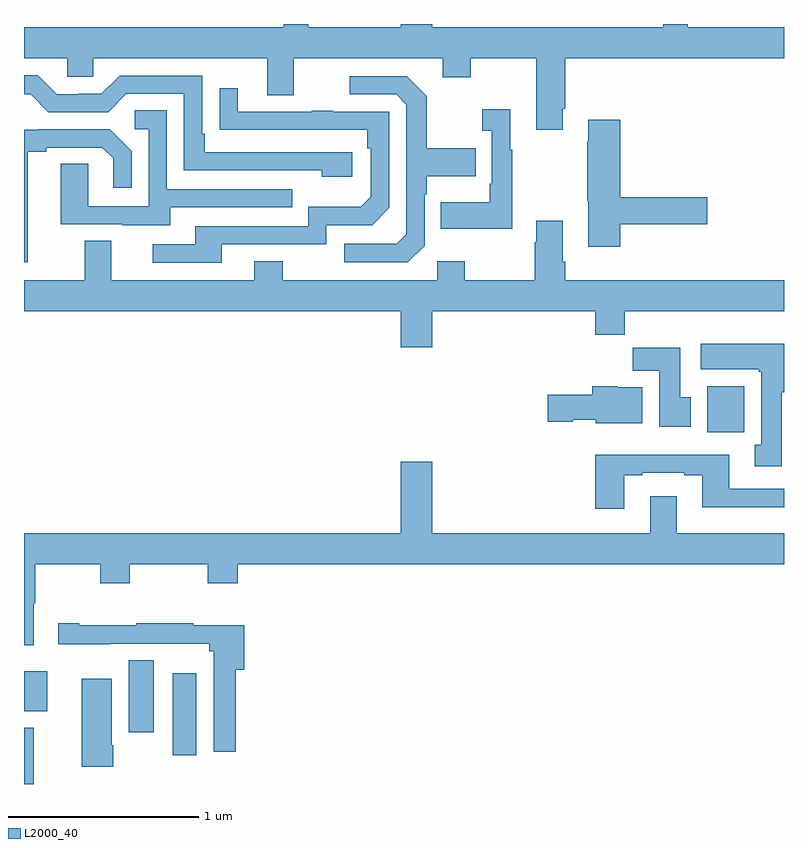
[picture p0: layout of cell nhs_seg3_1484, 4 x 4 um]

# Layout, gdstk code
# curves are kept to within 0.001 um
import gdstk
lib = gdstk.Library(unit=1e-6, precision=1e-09)
def R(c, l, rs):  # rectangles x0, y0, x1, y1
    for r in rs: c.add(gdstk.rectangle(r[:2], r[2:], *l))
def P(c, l, *ps):  # polygons
    for p in ps: c.add(gdstk.Polygon(p, *l))
L2000_40 = (2000, 40)

nhs_seg3_1484 = lib.new_cell('nhs_seg3_1484')
R(nhs_seg3_1484, L2000_40, [(187,726.4,187.051,726.697), (187.784,726.552,187.906,726.982), (187.55,726.672,187.684,727.052), (187,726.782,187.123,726.994), (190.595,728.252,190.792,728.494)])
P(nhs_seg3_1484, L2000_40, [(189.835,729.955),(189.848,729.955),(189.848,730.22),(191,730.22),(191,730.384),(190.493,730.384),(190.493,730.4),(190.365,730.4),(190.365,730.384),(189.148,730.384),(189.148,730.4),(188.984,730.4),(188.984,730.384),(188.495,730.384),(188.495,730.4),(188.367,730.4),(188.367,730.384),(187,730.384),(187,730.22),(187.227,730.22),(187.227,730.122),(187.365,730.122),(187.365,730.22),(188.279,730.22),(188.279,730.026),(188.419,730.026),(188.419,730.22),(189.203,730.22),(189.203,730.121),(189.351,730.121),(189.351,730.22),(189.695,730.22),(189.695,729.843),(189.835,729.843)],
  [(188.728,729.726),(187.951,729.726),(187.951,729.823),(187.938,729.823),(187.938,730.128),(187.503,730.128),(187.407,730.032),(187.289,730.032),(187.289,730.029),(187.173,730.029),(187.073,730.129),(187,730.129),(187,730.029),(187.035,730.029),(187.128,729.936),(187.443,729.936),(187.539,730.032),(187.842,730.032),(187.842,729.63),(188.567,729.63),(188.567,729.596),(188.728,729.596)],
  [(189.108,729.234),(189.108,729.503),(189.121,729.503),(189.121,729.599),(189.377,729.599),(189.377,729.747),(189.121,729.747),(189.121,730.019),(189.015,730.125),(188.715,730.125),(188.715,730.029),(188.958,730.029),(189.012,729.975),(189.012,729.294),(188.961,729.243),(188.685,729.243),(188.685,729.147),(189.021,729.147)],
  [(188.041,729.24),(188.592,729.24),(188.592,729.342),(188.832,729.342),(188.922,729.432),(188.922,729.939),(188.627,729.939),(188.627,729.944),(188.515,729.944),(188.515,729.939),(188.125,729.939),(188.125,730.063),(188.029,730.063),(188.029,729.844),(188.806,729.843),(188.806,729.746),(188.826,729.746),(188.826,729.492),(188.773,729.439),(188.496,729.439),(188.496,729.336),(187.901,729.336),(187.901,729.24),(187.677,729.24),(187.677,729.144),(188.041,729.144)],
  [(189.571,729.739),(189.559,729.739),(189.559,729.952),(189.411,729.952),(189.411,729.839),(189.462,729.839),(189.462,729.559),(189.45,729.559),(189.45,729.463),(189.193,729.463),(189.193,729.323),(189.571,729.323)],
  [(187.771,729.435),(188.411,729.435),(188.411,729.531),(187.752,729.531),(187.752,729.947),(187.584,729.947),(187.584,729.846),(187.656,729.846),(187.656,729.441),(187.338,729.441),(187.338,729.665),(187.193,729.665),(187.193,729.345),(187.517,729.345),(187.517,729.341),(187.771,729.341)],
  [(190.139,729.346),(190.597,729.346),(190.597,729.488),(190.139,729.488),(190.139,729.895),(189.971,729.895),(189.971,729.782),(189.964,729.782),(189.964,729.471),(189.971,729.471),(189.971,729.228),(190.139,729.228)],
  [(187.021,729.728),(187.117,729.728),(187.117,729.75),(187.412,729.75),(187.469,729.693),(187.469,729.537),(187.566,729.537),(187.566,729.73),(187.45,729.846),(187.078,729.846),(187.078,729.843),(187,729.843),(187,729.147),(187.021,729.147)],
  [(189.148,728.888),(190.007,728.888),(190.007,728.764),(190.163,728.764),(190.163,728.888),(191,728.888),(191,729.052),(189.848,729.052),(189.848,729.148),(189.835,729.148),(189.835,729.364),(189.695,729.364),(189.695,729.251),(189.688,729.251),(189.688,729.052),(189.321,729.052),(189.321,729.151),(189.174,729.151),(189.174,729.052),(188.361,729.052),(188.361,729.151),(188.213,729.151),(188.213,729.052),(187.459,729.052),(187.459,729.26),(187.319,729.26),(187.319,729.052),(187,729.052),(187,728.888),(188.984,728.888),(188.984,728.7),(189.148,728.7)],
  [(190.987,728.462),(191,728.462),(191,728.716),(190.563,728.716),(190.563,728.582),(190.867,728.582),(190.867,728.569),(190.88,728.569),(190.88,728.186),(190.847,728.186),(190.847,728.073),(190.987,728.073)],
  [(190.51,728.436),(190.453,728.436),(190.453,728.695),(190.204,728.695),(190.204,728.576),(190.343,728.576),(190.343,728.28),(190.51,728.28)],
  [(190.255,728.488),(190.122,728.488),(190.122,728.494),(189.992,728.494),(189.992,728.448),(189.756,728.448),(189.756,728.306),(189.888,728.306),(189.888,728.318),(190.008,728.318),(190.008,728.3),(190.255,728.3)],
  [(190.159,728.025),(190.255,728.025),(190.255,728.037),(190.475,728.037),(190.475,728.025),(190.571,728.025),(190.571,727.856),(191,727.856),(191,727.953),(190.711,727.953),(190.711,728.134),(190.007,728.134),(190.007,727.848),(190.159,727.848)],
  [(187.051,727.352),(187.059,727.352),(187.059,727.556),(187.402,727.556),(187.402,727.457),(187.557,727.457),(187.557,727.556),(187.966,727.556),(187.966,727.457),(188.126,727.457),(188.126,727.556),(191,727.556),(191,727.72),(190.435,727.72),(190.435,727.915),(190.295,727.915),(190.295,727.72),(189.148,727.72),(189.148,728.095),(188.984,728.095),(188.984,727.72),(187,727.72),(187,727.131),(187.051,727.131)],
  [(188.114,727.001),(188.159,727.001),(188.159,727.236),(187.892,727.236),(187.892,727.246),(187.591,727.246),(187.591,727.236),(187.291,727.236),(187.291,727.246),(187.179,727.246),(187.179,727.136),(187.454,727.136),(187.454,727.137),(187.976,727.137),(187.976,727.098),(187.998,727.098),(187.998,726.57),(188.114,726.57)],
  [(187.47,726.604),(187.462,726.604),(187.462,726.955),(187.304,726.955),(187.304,726.492),(187.47,726.492)])

lib.write_gds('nhs_seg3_1484.gds')
